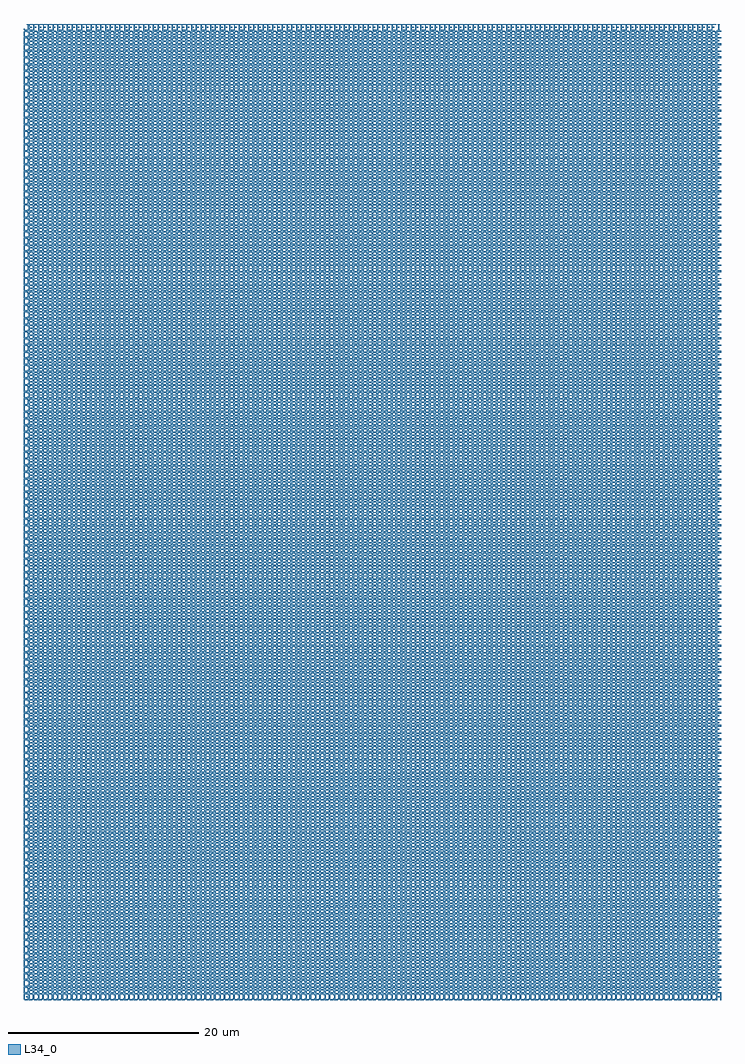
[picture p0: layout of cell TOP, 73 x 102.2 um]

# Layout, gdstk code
import gdstk
lib = gdstk.Library(unit=1e-6, precision=5e-09)
def P(c, l, *ps):  # polygons
    for p in ps: c.add(gdstk.Polygon(p, *l))
L34_0 = (34, 0)

text = lib.new_cell('TEXT')
P(text, L34_0, [(0,0),(0,0.55),(0.15,0.7),(0.35,0.7),(0.45,0.6),(0.2,0.6),(0.1,0.5),(0.1,0.35),(0.4,0.35),(0.4,0.5),(0.3,0.6),(0.45,0.6),(0.5,0.55),(0.5,0),(0.4,0),(0.4,0.25),(0.1,0.25),(0.1,0)])

dummya = lib.new_cell('dummyA')
dummya.add(gdstk.Reference(text, (0,0)))
dummya.add(gdstk.Label('A', (0.005,0.215), layer=34, texttype=0))

text_1 = lib.new_cell('TEXT$1')
P(text_1, L34_0, [(0,0),(0,0.7),(0.4,0.7),(0.5,0.6),(0.1,0.6),(0.1,0.4),(0.35,0.4),(0.4,0.45),(0.4,0.55),(0.35,0.6),(0.5,0.6),(0.5,0.4),(0.45,0.35),(0.5,0.3),(0.1,0.3),(0.1,0.1),(0.35,0.1),(0.4,0.15),(0.4,0.25),(0.35,0.3),(0.5,0.3),(0.5,0.1),(0.4,0)])

dummyb = lib.new_cell('dummyB')
dummyb.add(gdstk.Reference(text_1, (-0.855,-0.485)))

text_2 = lib.new_cell('TEXT$2')
P(text_2, L34_0, [(0.1,0),(0,0.1),(0,0.6),(0.1,0.7),(0.4,0.7),(0.5,0.6),(0.5,0.5),(0.4,0.5),(0.4,0.55),(0.35,0.6),(0.15,0.6),(0.1,0.55),(0.1,0.15),(0.15,0.1),(0.35,0.1),(0.4,0.15),(0.4,0.2),(0.5,0.2),(0.5,0.1),(0.4,0)])

dummyc = lib.new_cell('dummyC')
dummyc.add(gdstk.Reference(text_2, (0,0)))
dummyc.add(gdstk.Label('A', (0.005,0.215), layer=34, texttype=0))

text_1_1 = lib.new_cell('TEXT$1$1')
P(text_1_1, L34_0, [(0,0),(0,0.7),(0.35,0.7),(0.45,0.6),(0.1,0.6),(0.1,0.1),(0.3,0.1),(0.4,0.2),(0.4,0.5),(0.3,0.6),(0.45,0.6),(0.5,0.55),(0.5,0.15),(0.35,0)])

dummyd = lib.new_cell('dummyD')
dummyd.add(gdstk.Reference(text_1_1, (0,0)))
dummyd.add(gdstk.Label('A', (0.005,0.215), layer=34, texttype=0))

text_1_2 = lib.new_cell('TEXT$1$2')
P(text_1_2, L34_0, [(0,0),(0,0.7),(0.5,0.7),(0.5,0.6),(0.1,0.6),(0.1,0.4),(0.3,0.4),(0.3,0.3),(0.1,0.3),(0.1,0.1),(0.5,0.1),(0.5,0)])

dummye = lib.new_cell('dummyE')
dummye.add(gdstk.Reference(text_1_2, (0,0)))
dummye.add(gdstk.Label('A', (0.005,0.215), layer=34, texttype=0))

text_1_3 = lib.new_cell('TEXT$1$3')
P(text_1_3, L34_0, [(0,0),(0,0.7),(0.5,0.7),(0.5,0.6),(0.1,0.6),(0.1,0.4),(0.3,0.4),(0.3,0.3),(0.1,0.3),(0.1,0)])

dummyf = lib.new_cell('dummyF')
dummyf.add(gdstk.Reference(text_1_3, (0,0)))
dummyf.add(gdstk.Label('A', (0.005,0.215), layer=34, texttype=0))

text_1_4 = lib.new_cell('TEXT$1$4')
P(text_1_4, L34_0, [(0.1,0),(0,0.1),(0,0.6),(0.1,0.7),(0.4,0.7),(0.5,0.6),(0.5,0.5),(0.4,0.5),(0.4,0.55),(0.35,0.6),(0.15,0.6),(0.1,0.55),(0.1,0.15),(0.15,0.1),(0.35,0.1),(0.4,0.15),(0.4,0.3),(0.25,0.3),(0.25,0.4),(0.5,0.4),(0.5,0.1),(0.4,0)])

dummyg = lib.new_cell('dummyG')
dummyg.add(gdstk.Reference(text_1_4, (0,0)))
dummyg.add(gdstk.Label('A', (0.005,0.215), layer=34, texttype=0))

text_1_5 = lib.new_cell('TEXT$1$5')
P(text_1_5, L34_0, [(0,0),(0,0.7),(0.1,0.7),(0.1,0.4),(0.4,0.4),(0.4,0.7),(0.5,0.7),(0.5,0),(0.4,0),(0.4,0.3),(0.1,0.3),(0.1,0)])

dummyh = lib.new_cell('dummyH')
dummyh.add(gdstk.Reference(text_1_5, (0,0)))
dummyh.add(gdstk.Label('A', (0.005,0.215), layer=34, texttype=0))

text_1_6 = lib.new_cell('TEXT$1$6')
P(text_1_6, L34_0, [(0.15,0),(0.15,0.1),(0.2,0.1),(0.2,0.6),(0.15,0.6),(0.15,0.7),(0.35,0.7),(0.35,0.6),(0.3,0.6),(0.3,0.1),(0.35,0.1),(0.35,0)])

dummyi = lib.new_cell('dummyI')
dummyi.add(gdstk.Reference(text_1_6, (0,0)))
dummyi.add(gdstk.Label('A', (0.005,0.215), layer=34, texttype=0))

text_3 = lib.new_cell('TEXT$3')
P(text_3, L34_0, [(0.1,0),(0,0.1),(0,0.2),(0.1,0.2),(0.1,0.15),(0.15,0.1),(0.35,0.1),(0.4,0.15),(0.4,0.6),(0.3,0.6),(0.3,0.7),(0.5,0.7),(0.5,0.1),(0.4,0)])

dummyj = lib.new_cell('dummyJ')
dummyj.add(gdstk.Reference(text_3, (0,0)))
dummyj.add(gdstk.Label('A', (0.005,0.215), layer=34, texttype=0))

top = lib.new_cell('TOP')
r = gdstk.Reference(dummya, (0,0)); r.repetition = gdstk.Repetition(72, 72, v1=(1,0), v2=(0,1.4)); top.add(r)
r = gdstk.Reference(dummya, (0.5,0.7)); r.repetition = gdstk.Repetition(72, 72, v1=(1,0), v2=(0,1.4)); top.add(r)
r = gdstk.Reference(dummyb, (1.355,0.485)); r.repetition = gdstk.Repetition(72, 72, v1=(1,0), v2=(0,1.4)); top.add(r)
r = gdstk.Reference(dummyb, (0.855,1.185)); r.repetition = gdstk.Repetition(72, 72, v1=(1,0), v2=(0,1.4)); top.add(r)
r = gdstk.Reference(dummyc, (-0.5,0.7)); r.repetition = gdstk.Repetition(1, 72, v1=(0,0), v2=(0,1.4)); top.add(r)
r = gdstk.Reference(dummyd, (-0.5,0)); r.repetition = gdstk.Repetition(1, 72, v1=(0,0), v2=(0,1.4)); top.add(r)
r = gdstk.Reference(dummyc, (0.5,-0.7)); r.repetition = gdstk.Repetition(72, 1, v1=(1,0), v2=(0,0)); top.add(r)
r = gdstk.Reference(dummyd, (0,-0.7)); r.repetition = gdstk.Repetition(72, 1, v1=(1,0), v2=(0,0)); top.add(r)
r = gdstk.Reference(dummye, (72,0)); r.repetition = gdstk.Repetition(1, 72, v1=(0,0), v2=(0,1.4)); top.add(r)
r = gdstk.Reference(dummyf, (72,0.7)); r.repetition = gdstk.Repetition(1, 72, v1=(0,0), v2=(0,1.4)); top.add(r)
r = gdstk.Reference(dummye, (0,100.8)); r.repetition = gdstk.Repetition(72, 1, v1=(1,0), v2=(0,0)); top.add(r)
r = gdstk.Reference(dummyf, (0.5,100.8)); r.repetition = gdstk.Repetition(72, 1, v1=(1,0), v2=(0,0)); top.add(r)
top.add(gdstk.Reference(dummyg, (-0.5,-0.7)))
top.add(gdstk.Reference(dummyh, (72,-0.7)))
top.add(gdstk.Reference(dummyi, (71.995,100.8)))
top.add(gdstk.Reference(dummyj, (-0.5,100.8)))

lib.write_gds('TOP.gds')
